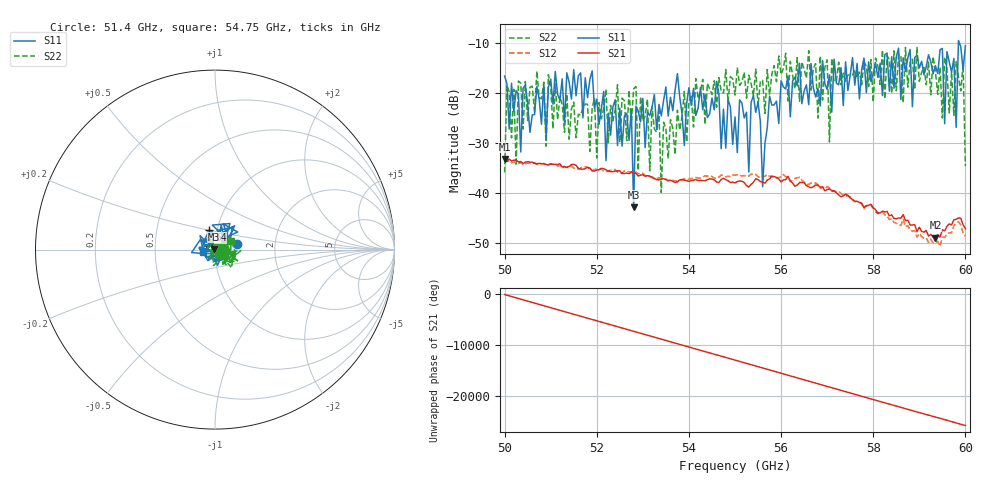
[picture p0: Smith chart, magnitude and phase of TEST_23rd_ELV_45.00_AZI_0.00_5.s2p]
! 11/23/2026 3:06:59 PM
! C:\ANRITSUVNA\TEMP\TEMP.S2P
! CHANNEL.1
! TR.MEASUREMENT
! RAW.DATA
# HZ S RI R 50.0
! FREQ.HZ  S11RE  S11IM  S21RE  S21IM  S12RE  S12IM  S22RE  S22IM
!; PortSelection: Port_12
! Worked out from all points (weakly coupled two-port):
!   201 points, 50 GHz to 60 GHz, reference 50 ohm
!   highest |S21| = -33.19 dB at 50 GHz (marker M1); lowest = -48.9 dB at 59.35 GHz (marker M2)
!   lowest |S11| = -42.9 dB at 52.8 GHz (marker M3), VSWR 1.01, Z = 49.4 + j0.318 ohm
!   |S11| at or under -10 dB: start of sweep to 59.85 GHz; 59.87281 GHz to end of sweep
!   |S22| runs from -39.9 to -10.8 dB; largest |S21 - S12| = 0.033
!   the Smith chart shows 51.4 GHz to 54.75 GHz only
!   S11 on the Smith chart (normalised r, x): 51.4 GHz: 1.28, +0.09; 54 GHz: 0.92, +0.20; 54.75 GHz: 0.87, -0.03
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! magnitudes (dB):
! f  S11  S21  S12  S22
! 50 GHz  -16.6  -33.2  -33.2  -35.9
! 50.05 GHz  -18.1  -33.7  -33.7  -18.4
! 51.4 GHz  -17.7  -34.7  -34.5  -29.2
! 51.7 GHz  -24.9  -35.2  -34.8  -22.9
! 52.75 GHz  -23.2  -35.8  -35.7  -26.0
! 52.8 GHz  -42.9  -36.0  -36.1  -19.1
! 52.85 GHz  -22.6  -36.1  -35.8  -18.7
! 52.9 GHz  -23.6  -36.6  -36.1  -35.5
! 53.35 GHz  -22.3  -37.4  -37.0  -23.6
! 53.4 GHz  -24.5  -37.2  -37.0  -39.9
! 54 GHz  -18.9  -37.7  -37.3  -21.5
! 54.75 GHz  -23.2  -37.1  -36.5  -20.0
! 55 GHz  -24.7  -38.0  -36.4  -20.4
! 55.6 GHz  -38.7  -37.9  -36.7  -17.4
! 55.75 GHz  -20.6  -37.2  -36.7  -20.3
! 56.7 GHz  -18.9  -38.7  -38.0  -15.1
! 57.05 GHz  -16.3  -39.2  -39.0  -29.8
! 57.1 GHz  -23.8  -39.5  -39.6  -13.0
! 58.35 GHz  -19.6  -44.6  -45.3  -13.3
! 59.35 GHz  -14.5  -48.9  -49.9  -15.8
! 59.95 GHz  -15.3  -46.4  -48.1  -14.1
! 60 GHz  -10.5  -47.2  -48.7  -34.6
